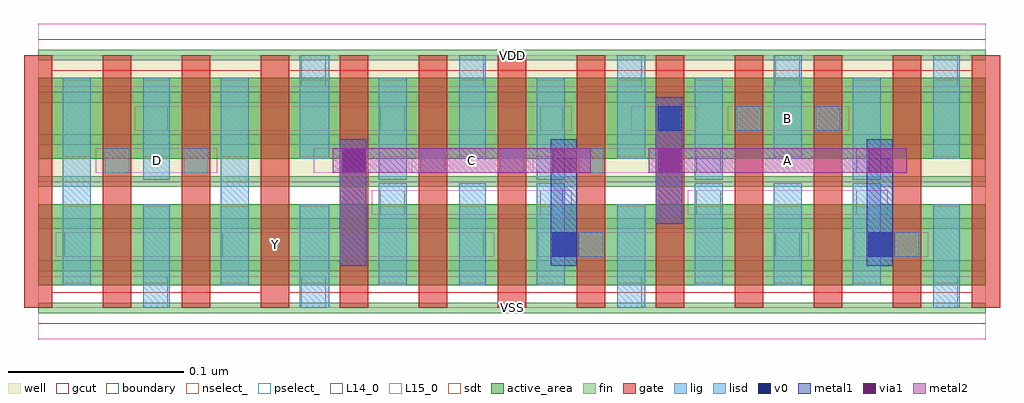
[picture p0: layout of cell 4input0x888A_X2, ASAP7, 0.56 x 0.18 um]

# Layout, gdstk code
import gdstk
lib = gdstk.Library(unit=1e-6, precision=1e-09)
def R(c, l, rs):  # rectangles x0, y0, x1, y1
    for r in rs: c.add(gdstk.rectangle(r[:2], r[2:], *l))
def A(c, l, x, y, w, h, nx, ny, dx, dy):  # array of equal rectangles
    R(c, l, [(x+i*dx, y+j*dy, x+i*dx+w, y+j*dy+h) for i in range(nx) for j in range(ny)])
def P(c, l, *ps):  # polygons
    for p in ps: c.add(gdstk.Polygon(p, *l))
well = (1, 0)
fin = (2, 0)
gate = (7, 0)
gcut = (10, 0)
active_area = (11, 0)
nselect_ = (12, 0)
pselect_ = (13, 0)
L14_0 = (14, 0)
L15_0 = (15, 0)
lig = (16, 0)
lisd = (17, 0)
v0 = (18, 0)
metal1 = (19, 0)
metal2 = (20, 0)
via1 = (21, 0)
sdt = (88, 0)
boundary = (100, 0)

c_4input0x888a_x2 = lib.new_cell('4input0x888A_X2')
R(c_4input0x888a_x2, well, [(0,0.072,0.54,0.144)])
A(c_4input0x888a_x2, fin, 0, -0.003, 0.54, 0.006, 1, 7, 0, 0.024)
A(c_4input0x888a_x2, gate, -0.008, 0, 0.016, 0.144, 13, 1, 0.045, 0)
P(c_4input0x888a_x2, gcut, [(0,-0.009),(0,0),(-0.008,0),(-0.008,0.135),(0.008,0.135),(0.008,0.009),(0.127,0.009),(0.127,0.135),(0.143,0.135),(0.143,0.009),(0.532,0.009),(0.532,0.135),(-0.008,0.135),(-0.008,0.144),(0,0.144),(0,0.153),(0.54,0.153),(0.54,0.144),(0.548,0.144),(0.548,0),(0.54,0),(0.54,-0.009)])
R(c_4input0x888a_x2, active_area, [(0,0.013,0.54,0.059), (0,0.085,0.54,0.131)])
R(c_4input0x888a_x2, nselect_, [(0,0,0.54,0.072)])
R(c_4input0x888a_x2, pselect_, [(0,0.072,0.54,0.144)])
A(c_4input0x888a_x2, L14_0, 0.15, 0, 0.014, 0.018, 3, 1, 0.18, 0)
A(c_4input0x888a_x2, L14_0, 0.173, 0.077, 0.014, 0.014, 4, 1, 0.045, 0)
A(c_4input0x888a_x2, L14_0, 0.353, 0.101, 0.014, 0.014, 3, 1, 0.045, 0)
A(c_4input0x888a_x2, L14_0, 0.15, 0.126, 0.014, 0.018, 5, 1, 0.09, 0)
R(c_4input0x888a_x2, L14_0, [(0.06,0,0.074,0.018), (0.015,0.029,0.03,0.043), (0.105,0.029,0.12,0.043), (0.24,0.029,0.254,0.043), (0.308,0.029,0.322,0.043), (0.42,0.029,0.434,0.043), (0.488,0.029,0.502,0.043), (0.195,0.053,0.209,0.067), (0.286,0.053,0.299,0.067), (0.375,0.053,0.389,0.067), (0.466,0.053,0.48,0.067), (0.038,0.077,0.052,0.091), (0.083,0.077,0.097,0.091), (0.375,0.077,0.389,0.091), (0.466,0.077,0.48,0.091), (0.06,0.101,0.074,0.115), (0.195,0.101,0.209,0.115), (0.286,0.101,0.299,0.115)])
R(c_4input0x888a_x2, L15_0, [(0,-0.018,0.54,0.018), (0.01,0.029,0.26,0.043), (0.285,0.029,0.439,0.043), (0.465,0.029,0.507,0.043), (0.19,0.053,0.304,0.067), (0.37,0.053,0.484,0.067), (0.033,0.077,0.102,0.091), (0.157,0.077,0.195,0.091), (0.213,0.077,0.282,0.091), (0.303,0.077,0.484,0.091), (0.055,0.101,0.304,0.115), (0.338,0.101,0.375,0.115), (0.393,0.101,0.462,0.115), (0,0.126,0.54,0.162)])
A(c_4input0x888a_x2, lig, 0.173, 0.077, 0.014, 0.014, 4, 1, 0.045, 0)
A(c_4input0x888a_x2, lig, 0.353, 0.101, 0.014, 0.014, 3, 1, 0.045, 0)
R(c_4input0x888a_x2, lig, [(0.308,0.029,0.322,0.043), (0.488,0.029,0.502,0.043), (0.038,0.077,0.052,0.091), (0.083,0.077,0.097,0.091)])
A(c_4input0x888a_x2, lisd, 0.194, 0.013, 0.016, 0.058, 3, 1, 0.09, 0)
A(c_4input0x888a_x2, lisd, 0.194, 0.073, 0.016, 0.058, 4, 1, 0.09, 0)
R(c_4input0x888a_x2, lisd, [(0.06,0,0.075,0.059), (0.149,0,0.166,0.059), (0.33,0,0.346,0.059), (0.51,0,0.525,0.059), (0.014,0.013,0.03,0.131), (0.104,0.013,0.12,0.131), (0.24,0.013,0.255,0.071), (0.419,0.013,0.435,0.071), (0.464,0.013,0.48,0.071), (0.06,0.073,0.075,0.131), (0.149,0.085,0.166,0.144), (0.24,0.085,0.255,0.144), (0.33,0.085,0.346,0.144), (0.419,0.085,0.435,0.144), (0.51,0.085,0.525,0.144)])
R(c_4input0x888a_x2, v0, [(0.293,0.029,0.307,0.043), (0.473,0.029,0.487,0.043), (0.173,0.077,0.187,0.091), (0.353,0.101,0.367,0.115)])
R(c_4input0x888a_x2, metal1, [(0.172,0.024,0.187,0.096), (0.292,0.024,0.307,0.096), (0.472,0.024,0.487,0.096), (0.352,0.048,0.367,0.12)])
R(c_4input0x888a_x2, metal2, [(0.168,0.077,0.315,0.091), (0.348,0.077,0.495,0.091)])
R(c_4input0x888a_x2, via1, [(0.173,0.077,0.187,0.091), (0.293,0.077,0.307,0.091), (0.353,0.077,0.367,0.091), (0.473,0.077,0.487,0.091)])
A(c_4input0x888a_x2, sdt, 0.014, 0.014, 0.016, 0.044, 4, 2, 0.09, 0.072)
A(c_4input0x888a_x2, sdt, 0.374, 0.014, 0.016, 0.044, 3, 2, 0.045, 0.072)
R(c_4input0x888a_x2, sdt, [(0.06,0.014,0.075,0.058), (0.149,0.014,0.166,0.058), (0.24,0.014,0.255,0.058), (0.33,0.014,0.346,0.058), (0.51,0.014,0.525,0.058), (0.06,0.086,0.075,0.13), (0.149,0.086,0.166,0.13), (0.24,0.086,0.255,0.13), (0.33,0.086,0.346,0.13), (0.51,0.086,0.525,0.13)])
R(c_4input0x888a_x2, boundary, [(0,0,0.54,0.144)])
c_4input0x888a_x2.add(gdstk.Label('VSS', (0.27,0), layer=15, texttype=251))
c_4input0x888a_x2.add(gdstk.Label('VDD', (0.27,0.144), layer=15, texttype=251))
c_4input0x888a_x2.add(gdstk.Label('D', (0.068,0.084), layer=15, texttype=251))
c_4input0x888a_x2.add(gdstk.Label('VSS', (0.27,0), layer=15, texttype=251))
c_4input0x888a_x2.add(gdstk.Label('VDD', (0.27,0.144), layer=15, texttype=251))
c_4input0x888a_x2.add(gdstk.Label('C', (0.247,0.084), layer=15, texttype=251))
c_4input0x888a_x2.add(gdstk.Label('VSS', (0.27,0), layer=15, texttype=251))
c_4input0x888a_x2.add(gdstk.Label('VDD', (0.27,0.144), layer=15, texttype=251))
c_4input0x888a_x2.add(gdstk.Label('Y', (0.135,0.036), layer=15, texttype=251))
c_4input0x888a_x2.add(gdstk.Label('VSS', (0.27,0), layer=15, texttype=251))
c_4input0x888a_x2.add(gdstk.Label('VDD', (0.27,0.144), layer=15, texttype=251))
c_4input0x888a_x2.add(gdstk.Label('B', (0.427,0.108), layer=15, texttype=251))
c_4input0x888a_x2.add(gdstk.Label('VSS', (0.27,0), layer=15, texttype=251))
c_4input0x888a_x2.add(gdstk.Label('VDD', (0.27,0.144), layer=15, texttype=251))
c_4input0x888a_x2.add(gdstk.Label('A', (0.427,0.084), layer=20, texttype=251))
c_4input0x888a_x2.add(gdstk.Label('VSS', (0.27,0), layer=3, texttype=251))
c_4input0x888a_x2.add(gdstk.Label('VSS', (0.27,0), layer=3, texttype=251))
c_4input0x888a_x2.add(gdstk.Label('VSS', (0.27,0), layer=3, texttype=251))
c_4input0x888a_x2.add(gdstk.Label('VSS', (0.27,0), layer=3, texttype=251))
c_4input0x888a_x2.add(gdstk.Label('VSS', (0.27,0), layer=3, texttype=251))
c_4input0x888a_x2.add(gdstk.Label('VDD', (0.27,0.144), layer=1, texttype=251))
c_4input0x888a_x2.add(gdstk.Label('VDD', (0.27,0.144), layer=1, texttype=251))
c_4input0x888a_x2.add(gdstk.Label('VDD', (0.27,0.144), layer=1, texttype=251))
c_4input0x888a_x2.add(gdstk.Label('VDD', (0.27,0.144), layer=1, texttype=251))
c_4input0x888a_x2.add(gdstk.Label('VDD', (0.27,0.144), layer=1, texttype=251))

lib.write_gds('4input0x888A_X2.gds')
